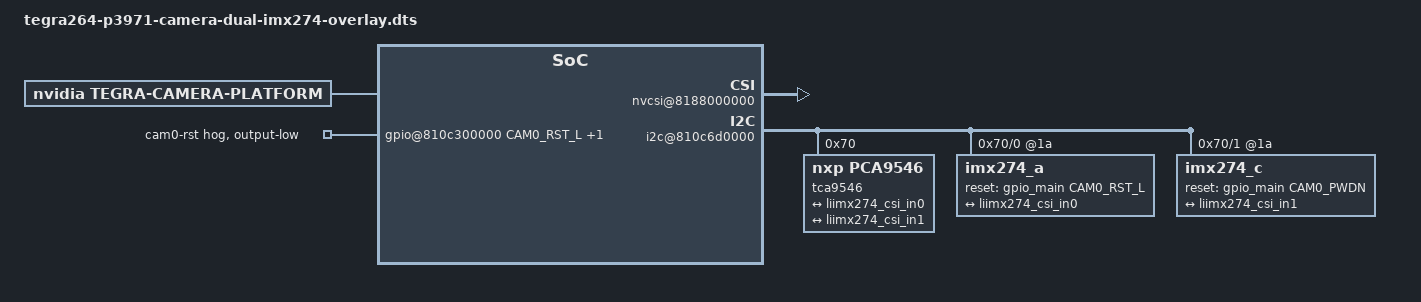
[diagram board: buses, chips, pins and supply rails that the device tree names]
// SPDX-License-Identifier: GPL-2.0-only
// SPDX-FileCopyrightText: Copyright (c) 2025, NVIDIA CORPORATION & AFFILIATES. All rights reserved.

/* Jetson Device-tree overlay for Camera Dual-IMX274 on t264 platforms */

/dts-v1/;
/plugin/;

#include <dt-bindings/clock/tegra264-clk.h>
#include <dt-bindings/gpio/tegra264-gpio.h>

/* camera control gpio definitions */
#define CAM0_RST_L	TEGRA264_MAIN_GPIO(V, 2)
#define CAM0_PWDN	TEGRA264_MAIN_GPIO(AL, 1)
#define CAM1_RST_L	TEGRA264_MAIN_GPIO(Q, 3)
#define CAM1_PWDN	TEGRA264_MAIN_GPIO(Q, 2)

#define JETSON_COMPATIBLE	"nvidia,p3971-0089+p3834-0008", "nvidia,p3971-0050+p3834-0005", "nvidia,p3971-0080+p3834-0008", "nvidia,p3971-0080+p3834-0000"

/ {
	overlay-name = "Jetson Camera Dual-IMX274";
	jetson-header-name = "Jetson AGX CSI Connector";
	compatible = JETSON_COMPATIBLE;

	fragment@0 {
		target-path = "/";

		board_config {
			ids = "LPRD-dual-imx274-002";
			sw-modules = "kernel";
		};

		__overlay__ {
			tegra-capture-vi {
				status = "okay";
				num-channels = <2>;
				ports {
					status = "okay";
					port@0 {
						status = "okay";
						endpoint {
							status = "okay";
							port-index = <0>;
							bus-width = <4>;
							vc-id = <0>;
							remote-endpoint = <&liimx274_csi_out0>;
						};
					};
					port@1 {
						status = "okay";
						endpoint {
							status = "okay";
							port-index = <2>;
							bus-width = <4>;
							vc-id = <0>;
							remote-endpoint = <&liimx274_csi_out1>;
						};
					};
				};
			};

			tegra-camera-platform {
				status = "okay";
				compatible = "nvidia, tegra-camera-platform";
				modules {
					status = "okay";
					module0 {
						status = "okay";
						badge = "imx274_bottom_A6V26";
						position = "bottom";
						orientation = "0";
						drivernode0 {
							status = "okay";
							pcl_id = "v4l2_sensor";
							sysfs-device-tree = "/sys/firmware/devicetree/base/bus@0/i2c@810c6d0000/tca9546@70/i2c@0/imx274_a@1a";
						};
						drivernode1 {
							status = "okay";
							pcl_id = "v4l2_lens";
							sysfs-device-tree = "/sys/firmware/devicetree/base/bus@0/lens_imx274@A6V26/";
						};
					};
					module1 {
						status = "okay";
						badge = "imx274_top_A6V26";
						position = "top";
						orientation = "0";
						drivernode0 {
							status = "okay";
							pcl_id = "v4l2_sensor";
							sysfs-device-tree = "/sys/firmware/devicetree/base/bus@0/i2c@810c6d0000/tca9546@70/i2c@1/imx274_c@1a";
						};
						drivernode1 {
							status = "okay";
							pcl_id = "v4l2_lens";
							sysfs-device-tree = "/sys/firmware/devicetree/base/bus@0/lens_imx274@A6V26/";
						};
					};
				};
			};

			bus@0 {
				gpio@810c300000 {
					camera-control-output-low {
						gpio-hog;
						output-low;
						gpios = <CAM0_RST_L 0 CAM0_PWDN 0>;
						label = "cam0-rst", "cam0-pwdn";
					};
				};

				host1x@8181200000 {
					nvcsi@8188000000 {
						num-channels = <2>;
						status = "okay";
						channel@0 {
							status = "okay";
							ports {
								status = "okay";
								port@0 {
									status = "okay";
									endpoint@0 {
										status = "okay";
										port-index = <0>;
										bus-width = <4>;
										remote-endpoint = <&liimx274_imx274_out0>;
									};
								};
								port@1 {
									status = "okay";
									endpoint@1 {
										status = "okay";
										remote-endpoint = <&liimx274_vi_in0>;
									};
								};
							};
						};
						channel@1 {
							status = "okay";
							ports {
								status = "okay";
								port@0 {
									status = "okay";
									endpoint@2 {
										status = "okay";
										port-index = <2>;
										bus-width = <4>;
										remote-endpoint = <&liimx274_imx274_out1>;
									};
								};
								port@1 {
									status = "okay";
									endpoint@3 {
										status = "okay";
										remote-endpoint = <&liimx274_vi_in1>;
									};
								};
							};
						};
					};
				};

				i2c@810c6d0000 {
					tca9546@70 {
						status = "okay";
						compatible = "nxp,pca9546";
						reg = <0x70>;
						#address-cells = <1>;
						#size-cells = <0>;
						skip_mux_detect = "yes";

						i2c@0 {
							status = "okay";
							reg = <0>;
							i2c-mux,deselect-on-exit;
							#address-cells = <1>;
							#size-cells = <0>;

							imx274_a@1a {
								status = "okay";
								/* Define any required hw resources needed by driver */
								/* ie. clocks, io pins, power sources */
								clocks = <&bpmp TEGRA264_CLK_EXTPERIPH1>,
										<&bpmp TEGRA264_CLK_EXTPERIPH1>;
								clock-names = "extperiph1", "pllp_grtba";
								mclk = "extperiph1";
								reset-gpios = <&gpio_main CAM0_RST_L GPIO_ACTIVE_HIGH>;

								ports {
									status = "okay";
									port@0 {
										status = "okay";
										endpoint {
											status = "okay";
											port-index = <0>;
											bus-width = <4>;
											remote-endpoint = <&liimx274_csi_in0>;
										};
									};
								};
							};
						};

						i2c@1 {
							status = "okay";
							reg = <1>;
							i2c-mux,deselect-on-exit;
							#address-cells = <1>;
							#size-cells = <0>;

							imx274_c@1a {
								status = "okay";
								/* Define any required hw resources needed by driver */
								/* ie. clocks, io pins, power sources */
								clocks = <&bpmp TEGRA264_CLK_EXTPERIPH1>,
										<&bpmp TEGRA264_CLK_EXTPERIPH1>;
								clock-names = "extperiph1", "pllp_grtba";
								mclk = "extperiph1";
								reset-gpios = <&gpio_main CAM0_PWDN GPIO_ACTIVE_HIGH>;

								ports {
									status = "okay";
									port@0 {
										status = "okay";
										endpoint {
											status = "okay";
											port-index = <2>;
											bus-width = <4>;
											remote-endpoint = <&liimx274_csi_in1>;
										};
									};
								};
							};
						};
					};
				};
			};
		};
	};
};
